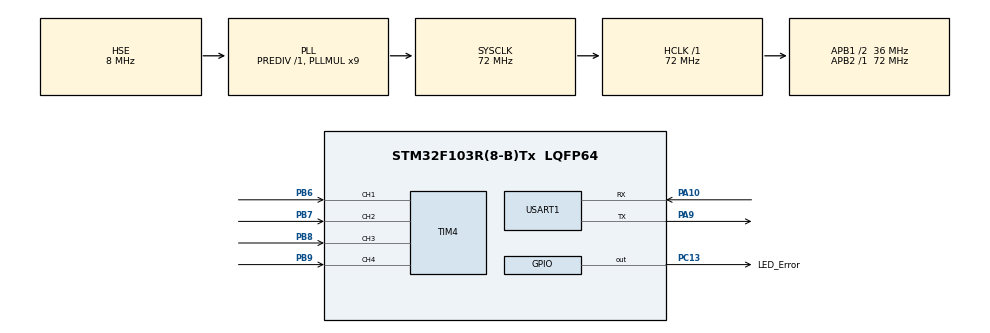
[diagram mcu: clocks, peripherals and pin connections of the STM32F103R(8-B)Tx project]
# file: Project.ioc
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Mcu.Family=STM32F1
Mcu.Name=STM32F103R(8-B)Tx
Mcu.Package=LQFP64
NVIC.PriorityGroup=NVIC_PRIORITYGROUP_4
NVIC.USART1_IRQn=true\:1\:0\:true\:false\:true\:true\:true\:true
PA10.Mode=Asynchronous
PA10.Signal=USART1_RX
PA13.Mode=Serial_Wire
PA13.Signal=SYS_JTMS-SWDIO
PA14.Mode=Serial_Wire
PA14.Signal=SYS_JTCK-SWCLK
PA9.Mode=Asynchronous
PA9.Signal=USART1_TX
PB6.Signal=S_TIM4_CH1
PB7.Signal=S_TIM4_CH2
PB8.Signal=S_TIM4_CH3
PB9.Signal=S_TIM4_CH4
PC13-TAMPER-RTC.GPIO_Label=LED_Error
PC13-TAMPER-RTC.Signal=GPIO_Output
PC14-OSC32_IN.Mode=LSE-External-Oscillator
PC14-OSC32_IN.Signal=RCC_OSC32_IN
PC15-OSC32_OUT.Mode=LSE-External-Oscillator
PC15-OSC32_OUT.Signal=RCC_OSC32_OUT
PD0-OSC_IN.Mode=HSE-External-Oscillator
PD0-OSC_IN.Signal=RCC_OSC_IN
PD1-OSC_OUT.Mode=HSE-External-Oscillator
PD1-OSC_OUT.Signal=RCC_OSC_OUT
ProjectManager.HeapSize=0x200
ProjectManager.StackSize=0x400
ProjectManager.TargetToolchain=STM32CubeIDE
RCC.AHBFreq_Value=72000000
RCC.APB1CLKDivider=RCC_HCLK_DIV2
RCC.APB1Freq_Value=36000000
RCC.APB1TimFreq_Value=72000000
RCC.APB2Freq_Value=72000000
RCC.APB2TimFreq_Value=72000000
RCC.HCLKFreq_Value=72000000
RCC.PLLMUL=RCC_PLL_MUL9
RCC.PLLSourceVirtual=RCC_PLLSOURCE_HSE
RCC.SYSCLKFreq_VALUE=72000000
RCC.SYSCLKSource=RCC_SYSCLKSOURCE_PLLCLK
RCC.USBFreq_Value=72000000
SH.S_TIM4_CH1.0=TIM4_CH1,Input_Capture1_from_TI1
SH.S_TIM4_CH2.0=TIM4_CH2,Input_Capture2_from_TI2
SH.S_TIM4_CH3.0=TIM4_CH3,Input_Capture3_from_TI3
SH.S_TIM4_CH4.0=TIM4_CH4,Input_Capture4_from_TI4
TIM4.Channel-Input_Capture1_from_TI1=TIM_CHANNEL_1
TIM4.Channel-Input_Capture2_from_TI2=TIM_CHANNEL_2
TIM4.Channel-Input_Capture3_from_TI3=TIM_CHANNEL_3
TIM4.Channel-Input_Capture4_from_TI4=TIM_CHANNEL_4
USART1.VirtualMode=VM_ASYNC
VP_TIM1_VS_ClockSourceITR.Mode=TriggerSource_ITR0
VP_TIM1_VS_ControllerModeClock.Mode=Clock Mode
board=custom

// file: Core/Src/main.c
/* USER CODE BEGIN Header */
/**
  ******************************************************************************
  * @file           : main.c
  * @brief          : Main program body
  ******************************************************************************
  * @attention
  *
  * Copyright (c) 2024 STMicroelectronics.
  * All rights reserved.
  *
  * This software is licensed under terms that can be found in the LICENSE file
  * in the root directory of this software component.
  * If no LICENSE file comes with this software, it is provided AS-IS.
  *
  ******************************************************************************
  */
/* USER CODE END Header */
#include "main.h"

/* USER CODE BEGIN Includes */
#include "string.h"
#include "iBus.h"
/* USER CODE END Includes */

/* USER CODE BEGIN PM */
static uint8_t uart_rx_buffer_1[IBUS_LENGTH] = {0};
uint16_t ibus_data[IBUS_USER_CHANNELS];
char data[200];
uint8_t data_CH1;
/* USER CODE END PM */

TIM_HandleTypeDef htim1;
TIM_HandleTypeDef htim4;

UART_HandleTypeDef huart1;

void SystemClock_Config(void);
static void MX_GPIO_Init(void);
static void MX_USART1_UART_Init(void);
static void MX_TIM1_Init(void);
static void MX_TIM4_Init(void);

/* USER CODE BEGIN 0 */
void HAL_UART_RxCpltCallback(UART_HandleTypeDef *huart)
{
	if(huart == &huart1)
		ibus_reset_failsafe();
}

/* USER CODE END 0 */

int main(void)
{

  /* MCU Configuration--------------------------------------------------------*/

  /* Reset of all peripherals, Initializes the Flash interface and the Systick. */
  HAL_Init();

  /* USER CODE BEGIN Init */
  uint32_t last_capture = 0;
  /* USER CODE END Init */

  /* Configure the system clock */
  SystemClock_Config();

  /* Initialize all configured peripherals */
  MX_GPIO_Init();
  MX_USART1_UART_Init();
  MX_TIM1_Init();
  MX_TIM4_Init();
  /* USER CODE BEGIN 2 */
  //HAL_UART_Receive(&huart1, uart_rx_buffer_1, sizeof(uart_rx_buffer_1), 32);
  HAL_TIM_Base_Start(&htim4);
  /* USER CODE END 2 */

  /* Infinite loop */
  while (1)
  {

    /* USER CODE BEGIN 3 */

//	 if(ibus_read(ibus_data))
//	  {
//	   if(ibus_read(ibus_data))
//	          {
//	              // Xử lý dữ liệu iBus
//	              for (int i = 0; i < IBUS_USER_CHANNELS; i++)
//	              {
//	                  printf(data, "Channel %d: %d\n", i + 1, ibus_data[i]);
//	                  HAL_UART_Transmit(&huart1, data, sizeof(data), 100);
//	              }
//	          }
//	          else
//	          {
//	              // Kiểm tra và xử lý fail-safe
//	              ibus_soft_failsafe(ibus_data, 10);
//	          }
//
//	          HAL_Delay(50);
//	  }
//	  HAL_UART_Transmit(&huart1, "Xin chao \r\n", sizeof("Xin chao"), 100);
//	  HAL_Delay(500);
//	  data_CH1 = HAL_TIM_ReadCapturedValue(&htim4, TIM_CHANNEL_1);

	  uint32_t current_capture = HAL_TIM_ReadCapturedValue(&htim4, TIM_CHANNEL_1);
	  uint32_t pulse_width = (current_capture >= last_capture) ? (current_capture - last_capture) : ((0xFFFF - last_capture) + current_capture + 1);
	  sprintf(data, "CH1: %d \r\n", pulse_width);
	  HAL_UART_Transmit(&huart1, data, sizeof(data), 1000);
	  HAL_Delay(1000);
  }
  /* USER CODE END 3 */
}

void SystemClock_Config(void)
{
  RCC_OscInitTypeDef RCC_OscInitStruct = {0};
  RCC_ClkInitTypeDef RCC_ClkInitStruct = {0};

  /** Initializes the RCC Oscillators according to the specified parameters
  * in the RCC_OscInitTypeDef structure.
  */
  RCC_OscInitStruct.OscillatorType = RCC_OSCILLATORTYPE_HSE;
  RCC_OscInitStruct.HSEState = RCC_HSE_ON;
  RCC_OscInitStruct.HSEPredivValue = RCC_HSE_PREDIV_DIV1;
  RCC_OscInitStruct.HSIState = RCC_HSI_ON;
  RCC_OscInitStruct.PLL.PLLState = RCC_PLL_ON;
  RCC_OscInitStruct.PLL.PLLSource = RCC_PLLSOURCE_HSE;
  RCC_OscInitStruct.PLL.PLLMUL = RCC_PLL_MUL9;
  if (HAL_RCC_OscConfig(&RCC_OscInitStruct) != HAL_OK)
  {
    Error_Handler();
  }

  /** Initializes the CPU, AHB and APB buses clocks
  */
  RCC_ClkInitStruct.ClockType = RCC_CLOCKTYPE_HCLK|RCC_CLOCKTYPE_SYSCLK
                              |RCC_CLOCKTYPE_PCLK1|RCC_CLOCKTYPE_PCLK2;
  RCC_ClkInitStruct.SYSCLKSource = RCC_SYSCLKSOURCE_PLLCLK;
  RCC_ClkInitStruct.AHBCLKDivider = RCC_SYSCLK_DIV1;
  RCC_ClkInitStruct.APB1CLKDivider = RCC_HCLK_DIV2;
  RCC_ClkInitStruct.APB2CLKDivider = RCC_HCLK_DIV1;

  if (HAL_RCC_ClockConfig(&RCC_ClkInitStruct, FLASH_LATENCY_2) != HAL_OK)
  {
    Error_Handler();
  }
}

static void MX_TIM1_Init(void)
{

  TIM_SlaveConfigTypeDef sSlaveConfig = {0};
  TIM_MasterConfigTypeDef sMasterConfig = {0};

  htim1.Instance = TIM1;
  htim1.Init.Prescaler = 71;
  htim1.Init.CounterMode = TIM_COUNTERMODE_UP;
  htim1.Init.Period = 0xFFFF;
  htim1.Init.ClockDivision = TIM_CLOCKDIVISION_DIV1;
  htim1.Init.RepetitionCounter = 0;
  htim1.Init.AutoReloadPreload = TIM_AUTORELOAD_PRELOAD_DISABLE;
  if (HAL_TIM_Base_Init(&htim1) != HAL_OK)
  {
    Error_Handler();
  }
  sSlaveConfig.SlaveMode = TIM_SLAVEMODE_EXTERNAL1;
  sSlaveConfig.InputTrigger = TIM_TS_ITR0;
  if (HAL_TIM_SlaveConfigSynchro(&htim1, &sSlaveConfig) != HAL_OK)
  {
    Error_Handler();
  }
  sMasterConfig.MasterOutputTrigger = TIM_TRGO_RESET;
  sMasterConfig.MasterSlaveMode = TIM_MASTERSLAVEMODE_DISABLE;
  if (HAL_TIMEx_MasterConfigSynchronization(&htim1, &sMasterConfig) != HAL_OK)
  {
    Error_Handler();
  }

}

static void MX_TIM4_Init(void)
{

  TIM_MasterConfigTypeDef sMasterConfig = {0};
  TIM_IC_InitTypeDef sConfigIC = {0};

  htim4.Instance = TIM4;
  htim4.Init.Prescaler = 0;
  htim4.Init.CounterMode = TIM_COUNTERMODE_UP;
  htim4.Init.Period = 65535;
  htim4.Init.ClockDivision = TIM_CLOCKDIVISION_DIV1;
  htim4.Init.AutoReloadPreload = TIM_AUTORELOAD_PRELOAD_DISABLE;
  if (HAL_TIM_IC_Init(&htim4) != HAL_OK)
  {
    Error_Handler();
  }
  sMasterConfig.MasterOutputTrigger = TIM_TRGO_RESET;
  sMasterConfig.MasterSlaveMode = TIM_MASTERSLAVEMODE_DISABLE;
  if (HAL_TIMEx_MasterConfigSynchronization(&htim4, &sMasterConfig) != HAL_OK)
  {
    Error_Handler();
  }
  sConfigIC.ICPolarity = TIM_INPUTCHANNELPOLARITY_RISING;
  sConfigIC.ICSelection = TIM_ICSELECTION_DIRECTTI;
  sConfigIC.ICPrescaler = TIM_ICPSC_DIV1;
  sConfigIC.ICFilter = 0;
  if (HAL_TIM_IC_ConfigChannel(&htim4, &sConfigIC, TIM_CHANNEL_1) != HAL_OK)
  {
    Error_Handler();
  }
  if (HAL_TIM_IC_ConfigChannel(&htim4, &sConfigIC, TIM_CHANNEL_2) != HAL_OK)
  {
    Error_Handler();
  }
  if (HAL_TIM_IC_ConfigChannel(&htim4, &sConfigIC, TIM_CHANNEL_3) != HAL_OK)
  {
    Error_Handler();
  }
  if (HAL_TIM_IC_ConfigChannel(&htim4, &sConfigIC, TIM_CHANNEL_4) != HAL_OK)
  {
    Error_Handler();
  }

}

static void MX_USART1_UART_Init(void)
{

  huart1.Instance = USART1;
  huart1.Init.BaudRate = 115200;
  huart1.Init.WordLength = UART_WORDLENGTH_8B;
  huart1.Init.StopBits = UART_STOPBITS_1;
  huart1.Init.Parity = UART_PARITY_NONE;
  huart1.Init.Mode = UART_MODE_TX_RX;
  huart1.Init.HwFlowCtl = UART_HWCONTROL_NONE;
  huart1.Init.OverSampling = UART_OVERSAMPLING_16;
  if (HAL_UART_Init(&huart1) != HAL_OK)
  {
    Error_Handler();
  }

}

static void MX_GPIO_Init(void)
{
  GPIO_InitTypeDef GPIO_InitStruct = {0};

  /* GPIO Ports Clock Enable */
  __HAL_RCC_GPIOC_CLK_ENABLE();
  __HAL_RCC_GPIOD_CLK_ENABLE();
  __HAL_RCC_GPIOA_CLK_ENABLE();
  __HAL_RCC_GPIOB_CLK_ENABLE();

  /*Configure GPIO pin Output Level */
  HAL_GPIO_WritePin(LED_Error_GPIO_Port, LED_Error_Pin, GPIO_PIN_RESET);

  /*Configure GPIO pin : LED_Error_Pin */
  GPIO_InitStruct.Pin = LED_Error_Pin;
  GPIO_InitStruct.Mode = GPIO_MODE_OUTPUT_PP;
  GPIO_InitStruct.Pull = GPIO_NOPULL;
  GPIO_InitStruct.Speed = GPIO_SPEED_FREQ_LOW;
  HAL_GPIO_Init(LED_Error_GPIO_Port, &GPIO_InitStruct);

}

void Error_Handler(void)
{
  __disable_irq();
  while (1)
  {
  }
}
